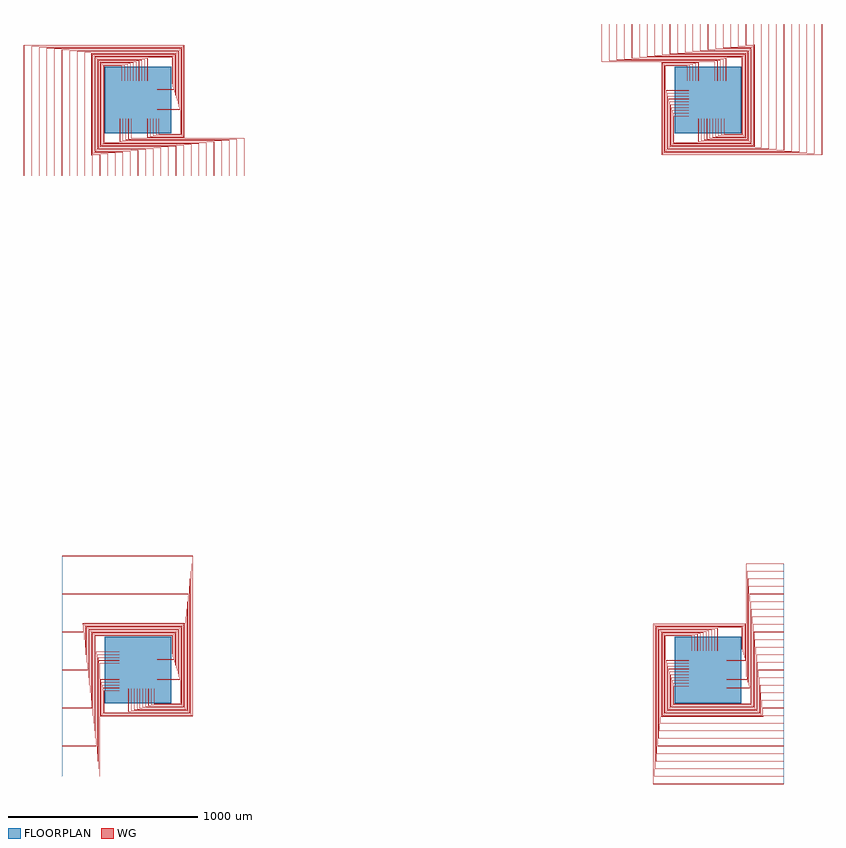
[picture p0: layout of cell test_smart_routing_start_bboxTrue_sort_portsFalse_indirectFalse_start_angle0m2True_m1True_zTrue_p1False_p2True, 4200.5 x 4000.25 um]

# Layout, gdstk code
import gdstk
lib = gdstk.Library(unit=1e-6, precision=1e-09)
def R(c, l, rs):  # rectangles x0, y0, x1, y1
    for r in rs: c.add(gdstk.rectangle(r[:2], r[2:], *l))
def P(c, l, *ps):  # polygons
    for p in ps: c.add(gdstk.Polygon(p, *l))
WG = (1, 0)
FLOORPLAN = (10, 0)

test_smart_routing_start = lib.new_cell('test_smart_routing_start_bboxTrue_sort_portsFalse_indirectFalse_start_angle0m2True_m1True_zTrue_p1False_p2True')
P(test_smart_routing_start, WG, [(2757.5,2712.5),(2757.5,3197.5),(2950.25,3197.5),(2950.25,3100),(2949.75,3100),(2949.75,3197),(2758,3197),(2758,2713),(3599.75,2713),(3599.75,3400),(3600.25,3400),(3600.25,2712.5)],
  [(2762,2717),(2762,3193),(2935.25,3193),(2935.25,3100),(2934.75,3100),(2934.75,3192.5),(2762.5,3192.5),(2762.5,2717.5),(3559.75,2717.5),(3559.75,3400),(3560.25,3400),(3560.25,2717)],
  [(2766.5,2721.5),(2766.5,3188.5),(2920.25,3188.5),(2920.25,3100),(2919.75,3100),(2919.75,3188),(2767,3188),(2767,2722),(3519.75,2722),(3519.75,3400),(3520.25,3400),(3520.25,2721.5)],
  [(2771,2726),(2771,3184),(2905.25,3184),(2905.25,3100),(2904.75,3100),(2904.75,3183.5),(2771.5,3183.5),(2771.5,2726.5),(3479.75,2726.5),(3479.75,3400),(3480.25,3400),(3480.25,2726)],
  [(2775.5,2730.5),(2775.5,3179.5),(2890.25,3179.5),(2890.25,3100),(2889.75,3100),(2889.75,3179),(2776,3179),(2776,2731),(3439.75,2731),(3439.75,3400),(3440.25,3400),(3440.25,2730.5)],
  [(2780,2735),(2780,3050.25),(2900,3050.25),(2900,3049.75),(2780.5,3049.75),(2780.5,2735.5),(3399.75,2735.5),(3399.75,3400),(3400.25,3400),(3400.25,2735)],
  [(2784.5,2739.5),(2784.5,3035.25),(2900,3035.25),(2900,3034.75),(2785,3034.75),(2785,2740),(3359.75,2740),(3359.75,3400),(3360.25,3400),(3360.25,2739.5)],
  [(2789,2744),(2789,3020.25),(2900,3020.25),(2900,3019.75),(2789.5,3019.75),(2789.5,2744.5),(3319.75,2744.5),(3319.75,3400),(3320.25,3400),(3320.25,2744)],
  [(2793.5,2748.5),(2793.5,3005.25),(2900,3005.25),(2900,3004.75),(2794,3004.75),(2794,2749),(3279.75,2749),(3279.75,3400),(3280.25,3400),(3280.25,2748.5)],
  [(2798,2753),(2798,2990.25),(2900,2990.25),(2900,2989.75),(2798.5,2989.75),(2798.5,2753.5),(3246.5,2753.5),(3246.5,3291.5),(3239.75,3291.5),(3239.75,3400),(3240.25,3400),(3240.25,3292),(3247,3292),(3247,2753)],
  [(2802.5,2757.5),(2802.5,2975.25),(2900,2975.25),(2900,2974.75),(2803,2974.75),(2803,2758),(3242,2758),(3242,3287),(3199.75,3287),(3199.75,3400),(3200.25,3400),(3200.25,3287.5),(3242.5,3287.5),(3242.5,2757.5)],
  [(2807,2762),(2807,2960.25),(2900,2960.25),(2900,2959.75),(2807.5,2959.75),(2807.5,2762.5),(3237.5,2762.5),(3237.5,3282.5),(3159.75,3282.5),(3159.75,3400),(3160.25,3400),(3160.25,3283),(3238,3283),(3238,2762)],
  [(2811.5,2766.5),(2811.5,2945.25),(2900,2945.25),(2900,2944.75),(2812,2944.75),(2812,2767),(3233,2767),(3233,3278),(3119.75,3278),(3119.75,3400),(3120.25,3400),(3120.25,3278.5),(3233.5,3278.5),(3233.5,2766.5)],
  [(2816,2771),(2816,2930.25),(2900,2930.25),(2900,2929.75),(2816.5,2929.75),(2816.5,2771.5),(3228.5,2771.5),(3228.5,3273.5),(3079.75,3273.5),(3079.75,3400),(3080.25,3400),(3080.25,3274),(3229,3274),(3229,2771)],
  [(2820.5,2775.5),(2820.5,2915.25),(2900,2915.25),(2900,2914.75),(2821,2914.75),(2821,2776),(3224,2776),(3224,3269),(3039.75,3269),(3039.75,3400),(3040.25,3400),(3040.25,3269.5),(3224.5,3269.5),(3224.5,2775.5)],
  [(2949.75,2780),(2949.75,2900),(2950.25,2900),(2950.25,2780.5),(3219.5,2780.5),(3219.5,3264.5),(2999.75,3264.5),(2999.75,3400),(3000.25,3400),(3000.25,3265),(3220,3265),(3220,2780)],
  [(2964.75,2784.5),(2964.75,2900),(2965.25,2900),(2965.25,2785),(3215,2785),(3215,3260),(2959.75,3260),(2959.75,3400),(2960.25,3400),(2960.25,3260.5),(3215.5,3260.5),(3215.5,2784.5)],
  [(2979.75,2789),(2979.75,2900),(2980.25,2900),(2980.25,2789.5),(3210.5,2789.5),(3210.5,3255.5),(2919.75,3255.5),(2919.75,3400),(2920.25,3400),(2920.25,3256),(3211,3256),(3211,2789)],
  [(2994.75,2793.5),(2994.75,2900),(2995.25,2900),(2995.25,2794),(3206,2794),(3206,3251),(2879.75,3251),(2879.75,3400),(2880.25,3400),(2880.25,3251.5),(3206.5,3251.5),(3206.5,2793.5)],
  [(3009.75,2798),(3009.75,2900),(3010.25,2900),(3010.25,2798.5),(3201.5,2798.5),(3201.5,3246.5),(2839.75,3246.5),(2839.75,3400),(2840.25,3400),(2840.25,3247),(3202,3247),(3202,2798)],
  [(3024.75,2802.5),(3024.75,2900),(3025.25,2900),(3025.25,2803),(3197,2803),(3197,3242),(2799.75,3242),(2799.75,3400),(2800.25,3400),(2800.25,3242.5),(3197.5,3242.5),(3197.5,2802.5)],
  [(3039.75,2807),(3039.75,2900),(3040.25,2900),(3040.25,2807.5),(3192.5,2807.5),(3192.5,3237.5),(2759.75,3237.5),(2759.75,3400),(2760.25,3400),(2760.25,3238),(3193,3238),(3193,2807)],
  [(3054.75,2811.5),(3054.75,2900),(3055.25,2900),(3055.25,2812),(3188,2812),(3188,3233),(2719.75,3233),(2719.75,3400),(2720.25,3400),(2720.25,3233.5),(3188.5,3233.5),(3188.5,2811.5)],
  [(3069.75,2816),(3069.75,2900),(3070.25,2900),(3070.25,2816.5),(3183.5,2816.5),(3183.5,3228.5),(2679.75,3228.5),(2679.75,3400),(2680.25,3400),(2680.25,3229),(3184,3229),(3184,2816)],
  [(3084.75,2820.5),(3084.75,2900),(3085.25,2900),(3085.25,2821),(3179,2821),(3179,3224),(2639.75,3224),(2639.75,3400),(2640.25,3400),(2640.25,3224.5),(3179.5,3224.5),(3179.5,2820.5)],
  [(3034.75,3100),(3034.75,3201.5),(2439.75,3201.5),(2439.75,3400),(2440.25,3400),(2440.25,3202),(3035.25,3202),(3035.25,3100)],
  [(3049.75,3100),(3049.75,3206),(2479.75,3206),(2479.75,3400),(2480.25,3400),(2480.25,3206.5),(3050.25,3206.5),(3050.25,3100)],
  [(3064.75,3100),(3064.75,3210.5),(2519.75,3210.5),(2519.75,3400),(2520.25,3400),(2520.25,3211),(3065.25,3211),(3065.25,3100)],
  [(3079.75,3100),(3079.75,3215),(2559.75,3215),(2559.75,3400),(2560.25,3400),(2560.25,3215.5),(3080.25,3215.5),(3080.25,3100)],
  [(3094.75,3100),(3094.75,3219.5),(2599.75,3219.5),(2599.75,3400),(2600.25,3400),(2600.25,3220),(3095.25,3220),(3095.25,3100)],
  [(-600.25,2600),(-600.25,3287.5),(242.5,3287.5),(242.5,2802.5),(49.75,2802.5),(49.75,2900),(50.25,2900),(50.25,2803),(242,2803),(242,3287),(-599.75,3287),(-599.75,2600)],
  [(-560.25,2600),(-560.25,3283),(238,3283),(238,2807),(64.75,2807),(64.75,2900),(65.25,2900),(65.25,2807.5),(237.5,2807.5),(237.5,3282.5),(-559.75,3282.5),(-559.75,2600)],
  [(-520.25,2600),(-520.25,3278.5),(233.5,3278.5),(233.5,2811.5),(79.75,2811.5),(79.75,2900),(80.25,2900),(80.25,2812),(233,2812),(233,3278),(-519.75,3278),(-519.75,2600)],
  [(-480.25,2600),(-480.25,3274),(229,3274),(229,2816),(94.75,2816),(94.75,2900),(95.25,2900),(95.25,2816.5),(228.5,2816.5),(228.5,3273.5),(-479.75,3273.5),(-479.75,2600)],
  [(-440.25,2600),(-440.25,3269.5),(224.5,3269.5),(224.5,2820.5),(109.75,2820.5),(109.75,2900),(110.25,2900),(110.25,2821),(224,2821),(224,3269),(-439.75,3269),(-439.75,2600)],
  [(-400.25,2600),(-400.25,3265),(220,3265),(220,2949.75),(100,2949.75),(100,2950.25),(219.5,2950.25),(219.5,3264.5),(-399.75,3264.5),(-399.75,2600)],
  [(-360.25,2600),(-360.25,3260.5),(215.5,3260.5),(215.5,2964.75),(100,2964.75),(100,2965.25),(215,2965.25),(215,3260),(-359.75,3260),(-359.75,2600)],
  [(-320.25,2600),(-320.25,3256),(211,3256),(211,2979.75),(100,2979.75),(100,2980.25),(210.5,2980.25),(210.5,3255.5),(-319.75,3255.5),(-319.75,2600)],
  [(-280.25,2600),(-280.25,3251.5),(206.5,3251.5),(206.5,2994.75),(100,2994.75),(100,2995.25),(206,2995.25),(206,3251),(-279.75,3251),(-279.75,2600)],
  [(-240.25,2600),(-240.25,2708),(-247,2708),(-247,3247),(202,3247),(202,3009.75),(100,3009.75),(100,3010.25),(201.5,3010.25),(201.5,3246.5),(-246.5,3246.5),(-246.5,2708.5),(-239.75,2708.5),(-239.75,2600)],
  [(-200.25,2600),(-200.25,2712.5),(-242.5,2712.5),(-242.5,3242.5),(197.5,3242.5),(197.5,3024.75),(100,3024.75),(100,3025.25),(197,3025.25),(197,3242),(-242,3242),(-242,2713),(-199.75,2713),(-199.75,2600)],
  [(-160.25,2600),(-160.25,2717),(-238,2717),(-238,3238),(193,3238),(193,3039.75),(100,3039.75),(100,3040.25),(192.5,3040.25),(192.5,3237.5),(-237.5,3237.5),(-237.5,2717.5),(-159.75,2717.5),(-159.75,2600)],
  [(-120.25,2600),(-120.25,2721.5),(-233.5,2721.5),(-233.5,3233.5),(188.5,3233.5),(188.5,3054.75),(100,3054.75),(100,3055.25),(188,3055.25),(188,3233),(-233,3233),(-233,2722),(-119.75,2722),(-119.75,2600)],
  [(-80.25,2600),(-80.25,2726),(-229,2726),(-229,3229),(184,3229),(184,3069.75),(100,3069.75),(100,3070.25),(183.5,3070.25),(183.5,3228.5),(-228.5,3228.5),(-228.5,2726.5),(-79.75,2726.5),(-79.75,2600)],
  [(-40.25,2600),(-40.25,2730.5),(-224.5,2730.5),(-224.5,3224.5),(179.5,3224.5),(179.5,3084.75),(100,3084.75),(100,3085.25),(179,3085.25),(179,3224),(-224,3224),(-224,2731),(-39.75,2731),(-39.75,2600)],
  [(-0.25,2600),(-0.25,2735),(-220,2735),(-220,3220),(50.25,3220),(50.25,3100),(49.75,3100),(49.75,3219.5),(-219.5,3219.5),(-219.5,2735.5),(0.25,2735.5),(0.25,2600)],
  [(39.75,2600),(39.75,2739.5),(-215.5,2739.5),(-215.5,3215.5),(35.25,3215.5),(35.25,3100),(34.75,3100),(34.75,3215),(-215,3215),(-215,2740),(40.25,2740),(40.25,2600)],
  [(79.75,2600),(79.75,2744),(-211,2744),(-211,3211),(20.25,3211),(20.25,3100),(19.75,3100),(19.75,3210.5),(-210.5,3210.5),(-210.5,2744.5),(80.25,2744.5),(80.25,2600)],
  [(119.75,2600),(119.75,2748.5),(-206.5,2748.5),(-206.5,3206.5),(5.25,3206.5),(5.25,3100),(4.75,3100),(4.75,3206),(-206,3206),(-206,2749),(120.25,2749),(120.25,2600)],
  [(159.75,2600),(159.75,2753),(-202,2753),(-202,3202),(-9.75,3202),(-9.75,3100),(-10.25,3100),(-10.25,3201.5),(-201.5,3201.5),(-201.5,2753.5),(160.25,2753.5),(160.25,2600)],
  [(199.75,2600),(199.75,2757.5),(-197.5,2757.5),(-197.5,3197.5),(-24.75,3197.5),(-24.75,3100),(-25.25,3100),(-25.25,3197),(-197,3197),(-197,2758),(200.25,2758),(200.25,2600)],
  [(239.75,2600),(239.75,2762),(-193,2762),(-193,3193),(-39.75,3193),(-39.75,3100),(-40.25,3100),(-40.25,3192.5),(-192.5,3192.5),(-192.5,2762.5),(240.25,2762.5),(240.25,2600)],
  [(279.75,2600),(279.75,2766.5),(-188.5,2766.5),(-188.5,3188.5),(-54.75,3188.5),(-54.75,3100),(-55.25,3100),(-55.25,3188),(-188,3188),(-188,2767),(280.25,2767),(280.25,2600)],
  [(319.75,2600),(319.75,2771),(-184,2771),(-184,3184),(-69.75,3184),(-69.75,3100),(-70.25,3100),(-70.25,3183.5),(-183.5,3183.5),(-183.5,2771.5),(320.25,2771.5),(320.25,2600)],
  [(359.75,2600),(359.75,2775.5),(-179.5,2775.5),(-179.5,3179.5),(-84.75,3179.5),(-84.75,3100),(-85.25,3100),(-85.25,3179),(-179,3179),(-179,2776),(360.25,2776),(360.25,2600)],
  [(559.75,2600),(559.75,2798),(-35.25,2798),(-35.25,2900),(-34.75,2900),(-34.75,2798.5),(560.25,2798.5),(560.25,2600)],
  [(519.75,2600),(519.75,2793.5),(-50.25,2793.5),(-50.25,2900),(-49.75,2900),(-49.75,2794),(520.25,2794),(520.25,2600)],
  [(479.75,2600),(479.75,2789),(-65.25,2789),(-65.25,2900),(-64.75,2900),(-64.75,2789.5),(480.25,2789.5),(480.25,2600)],
  [(439.75,2600),(439.75,2784.5),(-80.25,2784.5),(-80.25,2900),(-79.75,2900),(-79.75,2785),(440.25,2785),(440.25,2600)],
  [(399.75,2600),(399.75,2780),(-95.25,2780),(-95.25,2900),(-94.75,2900),(-94.75,2780.5),(400.25,2780.5),(400.25,2600)],
  [(-197.5,-242.5),(-197.5,-49.75),(-100,-49.75),(-100,-50.25),(-197,-50.25),(-197,-242),(287,-242),(287,599.75),(-400,599.75),(-400,600.25),(287.5,600.25),(287.5,-242.5)],
  [(-193,-238),(-193,-64.75),(-100,-64.75),(-100,-65.25),(-192.5,-65.25),(-192.5,-237.5),(282.5,-237.5),(282.5,559.75),(-400,559.75),(-400,560.25),(283,560.25),(283,-238)],
  [(-188.5,-233.5),(-188.5,-79.75),(-100,-79.75),(-100,-80.25),(-188,-80.25),(-188,-233),(278,-233),(278,519.75),(-400,519.75),(-400,520.25),(278.5,520.25),(278.5,-233.5)],
  [(-184,-229),(-184,-94.75),(-100,-94.75),(-100,-95.25),(-183.5,-95.25),(-183.5,-228.5),(273.5,-228.5),(273.5,479.75),(-400,479.75),(-400,480.25),(274,480.25),(274,-229)],
  [(-179.5,-224.5),(-179.5,-109.75),(-100,-109.75),(-100,-110.25),(-179,-110.25),(-179,-224),(269,-224),(269,439.75),(-400,439.75),(-400,440.25),(269.5,440.25),(269.5,-224.5)],
  [(-50.25,-220),(-50.25,-100),(-49.75,-100),(-49.75,-219.5),(264.5,-219.5),(264.5,399.75),(-400,399.75),(-400,400.25),(265,400.25),(265,-220)],
  [(-35.25,-215.5),(-35.25,-100),(-34.75,-100),(-34.75,-215),(260,-215),(260,359.75),(-400,359.75),(-400,360.25),(260.5,360.25),(260.5,-215.5)],
  [(-20.25,-211),(-20.25,-100),(-19.75,-100),(-19.75,-210.5),(255.5,-210.5),(255.5,319.75),(-400,319.75),(-400,320.25),(256,320.25),(256,-211)],
  [(-5.25,-206.5),(-5.25,-100),(-4.75,-100),(-4.75,-206),(251,-206),(251,279.75),(-400,279.75),(-400,280.25),(251.5,280.25),(251.5,-206.5)],
  [(9.75,-202),(9.75,-100),(10.25,-100),(10.25,-201.5),(246.5,-201.5),(246.5,246.5),(-291.5,246.5),(-291.5,239.75),(-400,239.75),(-400,240.25),(-292,240.25),(-292,247),(247,247),(247,-202)],
  [(24.75,-197.5),(24.75,-100),(25.25,-100),(25.25,-197),(242,-197),(242,242),(-287,242),(-287,199.75),(-400,199.75),(-400,200.25),(-287.5,200.25),(-287.5,242.5),(242.5,242.5),(242.5,-197.5)],
  [(39.75,-193),(39.75,-100),(40.25,-100),(40.25,-192.5),(237.5,-192.5),(237.5,237.5),(-282.5,237.5),(-282.5,159.75),(-400,159.75),(-400,160.25),(-283,160.25),(-283,238),(238,238),(238,-193)],
  [(54.75,-188.5),(54.75,-100),(55.25,-100),(55.25,-188),(233,-188),(233,233),(-278,233),(-278,119.75),(-400,119.75),(-400,120.25),(-278.5,120.25),(-278.5,233.5),(233.5,233.5),(233.5,-188.5)],
  [(69.75,-184),(69.75,-100),(70.25,-100),(70.25,-183.5),(228.5,-183.5),(228.5,228.5),(-273.5,228.5),(-273.5,79.75),(-400,79.75),(-400,80.25),(-274,80.25),(-274,229),(229,229),(229,-184)],
  [(84.75,-179.5),(84.75,-100),(85.25,-100),(85.25,-179),(224,-179),(224,224),(-269,224),(-269,39.75),(-400,39.75),(-400,40.25),(-269.5,40.25),(-269.5,224.5),(224.5,224.5),(224.5,-179.5)],
  [(100,-50.25),(100,-49.75),(219.5,-49.75),(219.5,219.5),(-264.5,219.5),(-264.5,-0.25),(-400,-0.25),(-400,0.25),(-265,0.25),(-265,220),(220,220),(220,-50.25)],
  [(-400,-40.25),(-400,-39.75),(-260.5,-39.75),(-260.5,215.5),(215.5,215.5),(215.5,-35.25),(100,-35.25),(100,-34.75),(215,-34.75),(215,215),(-260,215),(-260,-40.25)],
  [(-400,-80.25),(-400,-79.75),(-256,-79.75),(-256,211),(211,211),(211,-20.25),(100,-20.25),(100,-19.75),(210.5,-19.75),(210.5,210.5),(-255.5,210.5),(-255.5,-80.25)],
  [(-400,-120.25),(-400,-119.75),(-251.5,-119.75),(-251.5,206.5),(206.5,206.5),(206.5,-5.25),(100,-5.25),(100,-4.75),(206,-4.75),(206,206),(-251,206),(-251,-120.25)],
  [(-400,-160.25),(-400,-159.75),(-247,-159.75),(-247,202),(202,202),(202,9.75),(100,9.75),(100,10.25),(201.5,10.25),(201.5,201.5),(-246.5,201.5),(-246.5,-160.25)],
  [(-400,-200.25),(-400,-199.75),(-242.5,-199.75),(-242.5,197.5),(197.5,197.5),(197.5,24.75),(100,24.75),(100,25.25),(197,25.25),(197,197),(-242,197),(-242,-200.25)],
  [(-400,-240.25),(-400,-239.75),(-238,-239.75),(-238,193),(193,193),(193,39.75),(100,39.75),(100,40.25),(192.5,40.25),(192.5,192.5),(-237.5,192.5),(-237.5,-240.25)],
  [(-400,-280.25),(-400,-279.75),(-233.5,-279.75),(-233.5,188.5),(188.5,188.5),(188.5,54.75),(100,54.75),(100,55.25),(188,55.25),(188,188),(-233,188),(-233,-280.25)],
  [(-400,-320.25),(-400,-319.75),(-229,-319.75),(-229,184),(184,184),(184,69.75),(100,69.75),(100,70.25),(183.5,70.25),(183.5,183.5),(-228.5,183.5),(-228.5,-320.25)],
  [(-400,-360.25),(-400,-359.75),(-224.5,-359.75),(-224.5,179.5),(179.5,179.5),(179.5,84.75),(100,84.75),(100,85.25),(179,85.25),(179,179),(-224,179),(-224,-360.25)],
  [(-400,-560.25),(-400,-559.75),(-202,-559.75),(-202,35.25),(-100,35.25),(-100,34.75),(-201.5,34.75),(-201.5,-560.25)],
  [(-400,-520.25),(-400,-519.75),(-206.5,-519.75),(-206.5,50.25),(-100,50.25),(-100,49.75),(-206,49.75),(-206,-520.25)],
  [(-400,-480.25),(-400,-479.75),(-211,-479.75),(-211,65.25),(-100,65.25),(-100,64.75),(-210.5,64.75),(-210.5,-480.25)],
  [(-400,-440.25),(-400,-439.75),(-215.5,-439.75),(-215.5,80.25),(-100,80.25),(-100,79.75),(-215,79.75),(-215,-440.25)],
  [(-400,-400.25),(-400,-399.75),(-220,-399.75),(-220,95.25),(-100,95.25),(-100,94.75),(-219.5,94.75),(-219.5,-400.25)],
  [(2712.5,-600.25),(2712.5,242.5),(3197.5,242.5),(3197.5,49.75),(3100,49.75),(3100,50.25),(3197,50.25),(3197,242),(2713,242),(2713,-599.75),(3400,-599.75),(3400,-600.25)],
  [(2717,-560.25),(2717,238),(3193,238),(3193,64.75),(3100,64.75),(3100,65.25),(3192.5,65.25),(3192.5,237.5),(2717.5,237.5),(2717.5,-559.75),(3400,-559.75),(3400,-560.25)],
  [(2721.5,-520.25),(2721.5,233.5),(3188.5,233.5),(3188.5,79.75),(3100,79.75),(3100,80.25),(3188,80.25),(3188,233),(2722,233),(2722,-519.75),(3400,-519.75),(3400,-520.25)],
  [(2726,-480.25),(2726,229),(3184,229),(3184,94.75),(3100,94.75),(3100,95.25),(3183.5,95.25),(3183.5,228.5),(2726.5,228.5),(2726.5,-479.75),(3400,-479.75),(3400,-480.25)],
  [(2730.5,-440.25),(2730.5,224.5),(3179.5,224.5),(3179.5,109.75),(3100,109.75),(3100,110.25),(3179,110.25),(3179,224),(2731,224),(2731,-439.75),(3400,-439.75),(3400,-440.25)],
  [(2735,-400.25),(2735,220),(3050.25,220),(3050.25,100),(3049.75,100),(3049.75,219.5),(2735.5,219.5),(2735.5,-399.75),(3400,-399.75),(3400,-400.25)],
  [(2739.5,-360.25),(2739.5,215.5),(3035.25,215.5),(3035.25,100),(3034.75,100),(3034.75,215),(2740,215),(2740,-359.75),(3400,-359.75),(3400,-360.25)],
  [(2744,-320.25),(2744,211),(3020.25,211),(3020.25,100),(3019.75,100),(3019.75,210.5),(2744.5,210.5),(2744.5,-319.75),(3400,-319.75),(3400,-320.25)],
  [(2748.5,-280.25),(2748.5,206.5),(3005.25,206.5),(3005.25,100),(3004.75,100),(3004.75,206),(2749,206),(2749,-279.75),(3400,-279.75),(3400,-280.25)],
  [(2753,-247),(2753,202),(2990.25,202),(2990.25,100),(2989.75,100),(2989.75,201.5),(2753.5,201.5),(2753.5,-246.5),(3291.5,-246.5),(3291.5,-239.75),(3400,-239.75),(3400,-240.25),(3292,-240.25),(3292,-247)],
  [(2757.5,-242.5),(2757.5,197.5),(2975.25,197.5),(2975.25,100),(2974.75,100),(2974.75,197),(2758,197),(2758,-242),(3287,-242),(3287,-199.75),(3400,-199.75),(3400,-200.25),(3287.5,-200.25),(3287.5,-242.5)],
  [(2762,-238),(2762,193),(2960.25,193),(2960.25,100),(2959.75,100),(2959.75,192.5),(2762.5,192.5),(2762.5,-237.5),(3282.5,-237.5),(3282.5,-159.75),(3400,-159.75),(3400,-160.25),(3283,-160.25),(3283,-238)],
  [(2766.5,-233.5),(2766.5,188.5),(2945.25,188.5),(2945.25,100),(2944.75,100),(2944.75,188),(2767,188),(2767,-233),(3278,-233),(3278,-119.75),(3400,-119.75),(3400,-120.25),(3278.5,-120.25),(3278.5,-233.5)],
  [(2771,-229),(2771,184),(2930.25,184),(2930.25,100),(2929.75,100),(2929.75,183.5),(2771.5,183.5),(2771.5,-228.5),(3273.5,-228.5),(3273.5,-79.75),(3400,-79.75),(3400,-80.25),(3274,-80.25),(3274,-229)],
  [(2775.5,-224.5),(2775.5,179.5),(2915.25,179.5),(2915.25,100),(2914.75,100),(2914.75,179),(2776,179),(2776,-224),(3269,-224),(3269,-39.75),(3400,-39.75),(3400,-40.25),(3269.5,-40.25),(3269.5,-224.5)],
  [(2780,-220),(2780,50.25),(2900,50.25),(2900,49.75),(2780.5,49.75),(2780.5,-219.5),(3264.5,-219.5),(3264.5,0.25),(3400,0.25),(3400,-0.25),(3265,-0.25),(3265,-220)],
  [(2784.5,-215.5),(2784.5,35.25),(2900,35.25),(2900,34.75),(2785,34.75),(2785,-215),(3260,-215),(3260,40.25),(3400,40.25),(3400,39.75),(3260.5,39.75),(3260.5,-215.5)],
  [(2789,-211),(2789,20.25),(2900,20.25),(2900,19.75),(2789.5,19.75),(2789.5,-210.5),(3255.5,-210.5),(3255.5,80.25),(3400,80.25),(3400,79.75),(3256,79.75),(3256,-211)],
  [(2793.5,-206.5),(2793.5,5.25),(2900,5.25),(2900,4.75),(2794,4.75),(2794,-206),(3251,-206),(3251,120.25),(3400,120.25),(3400,119.75),(3251.5,119.75),(3251.5,-206.5)],
  [(2798,-202),(2798,-9.75),(2900,-9.75),(2900,-10.25),(2798.5,-10.25),(2798.5,-201.5),(3246.5,-201.5),(3246.5,160.25),(3400,160.25),(3400,159.75),(3247,159.75),(3247,-202)],
  [(2802.5,-197.5),(2802.5,-24.75),(2900,-24.75),(2900,-25.25),(2803,-25.25),(2803,-197),(3242,-197),(3242,200.25),(3400,200.25),(3400,199.75),(3242.5,199.75),(3242.5,-197.5)],
  [(2807,-193),(2807,-39.75),(2900,-39.75),(2900,-40.25),(2807.5,-40.25),(2807.5,-192.5),(3237.5,-192.5),(3237.5,240.25),(3400,240.25),(3400,239.75),(3238,239.75),(3238,-193)],
  [(2811.5,-188.5),(2811.5,-54.75),(2900,-54.75),(2900,-55.25),(2812,-55.25),(2812,-188),(3233,-188),(3233,280.25),(3400,280.25),(3400,279.75),(3233.5,279.75),(3233.5,-188.5)],
  [(2816,-184),(2816,-69.75),(2900,-69.75),(2900,-70.25),(2816.5,-70.25),(2816.5,-183.5),(3228.5,-183.5),(3228.5,320.25),(3400,320.25),(3400,319.75),(3229,319.75),(3229,-184)],
  [(2820.5,-179.5),(2820.5,-84.75),(2900,-84.75),(2900,-85.25),(2821,-85.25),(2821,-179),(3224,-179),(3224,360.25),(3400,360.25),(3400,359.75),(3224.5,359.75),(3224.5,-179.5)],
  [(3100,-35.25),(3100,-34.75),(3201.5,-34.75),(3201.5,560.25),(3400,560.25),(3400,559.75),(3202,559.75),(3202,-35.25)],
  [(3100,-50.25),(3100,-49.75),(3206,-49.75),(3206,520.25),(3400,520.25),(3400,519.75),(3206.5,519.75),(3206.5,-50.25)],
  [(3100,-65.25),(3100,-64.75),(3210.5,-64.75),(3210.5,480.25),(3400,480.25),(3400,479.75),(3211,479.75),(3211,-65.25)],
  [(3100,-80.25),(3100,-79.75),(3215,-79.75),(3215,440.25),(3400,440.25),(3400,439.75),(3215.5,439.75),(3215.5,-80.25)],
  [(3100,-95.25),(3100,-94.75),(3219.5,-94.75),(3219.5,400.25),(3400,400.25),(3400,399.75),(3220,399.75),(3220,-95.25)])
R(test_smart_routing_start, FLOORPLAN, [(-175,-175,175,175), (2825,-175,3175,175), (-175,2825,175,3175), (2825,2825,3175,3175)])
P(test_smart_routing_start, FLOORPLAN, [(-400,-560),(-400,600),(-400,600),(-400,-560)],
  [(-600,2600),(-600,2600),(560,2600),(560,2600)],
  [(3400,-600),(3400,560),(3400,560),(3400,-600)],
  [(2440,3400),(2440,3400),(3600,3400),(3600,3400)])

lib.write_gds('test_smart_routing_start_bboxTrue_sort_portsFalse_indirectFalse_start_angle0m2True_m1True_zTrue_p1False_p2True.gds')
